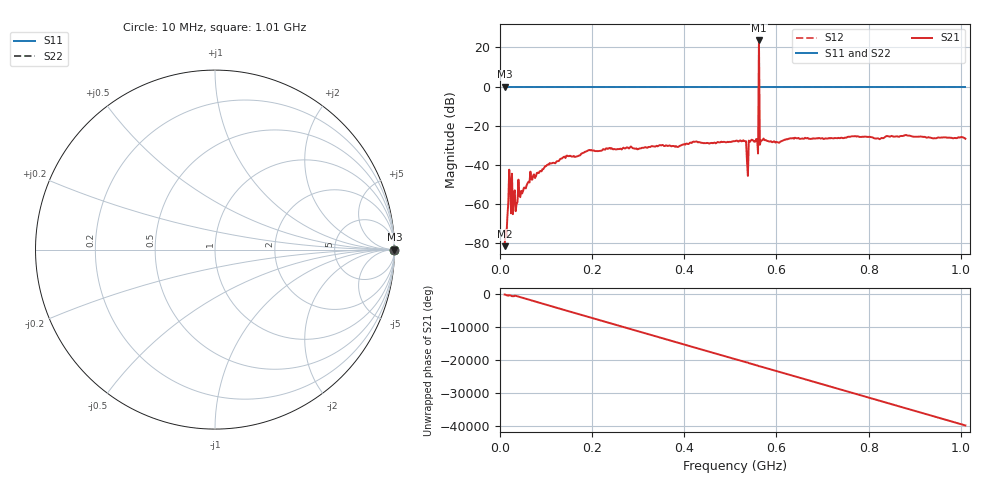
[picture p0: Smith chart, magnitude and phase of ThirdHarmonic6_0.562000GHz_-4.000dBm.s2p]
! 8/15/2025 5:55:47 PM
! C:\ANRITSUVNA\TEMP\TEMP.S2P
! CHANNEL.1
! TR.MEASUREMENT
! RAW.DATA
! RF.CORRECTION.OFF
! AVERAGING.OFF
! IF.BANDWIDTH: 5KHZ
! SWEEPTYPE:  FREQ.SWEEP(Linear)
! Reference Plane Port Info
! PORT:  PORT1  PORT2
! DISTANCE:  0  m  0  m
! TIME:  0  s  0  s
! PHASE.OFFSET:  0  deg.  0  deg.
! LOSS:  0  dB  0  dB
! REF.LOSS:  0  dB  0  dB
! REF.FREQ:  0  Hz  0  Hz
! Power Info
! POWER:  -20  dBm  -20  dBm
! EFF.POWER:  -20  dBm  -20  dBm
! SOURCE.ATTEN:  0  dB  0  dB
! TEST.ATTEN:  0  dB  0  dB
# GHZ S RI R 50.0
! FREQ.GHZ  S11RE  S11IM  S21RE  S21IM  S12RE  S12IM  S22RE  S22IM
!; PortSelection: Port_12
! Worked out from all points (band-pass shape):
!   501 points, 10 MHz to 1.01 GHz, reference 50 ohm
!   highest |S21| = 23.54 dB at 562 MHz (marker M1); lowest = -81.5 dB at 10 MHz (marker M2)
!   |S21| within 3 dB of the highest: 561.8961 MHz to 562.1127 MHz (216.6 kHz wide, 0.0385 % of centre)
!   lowest |S11| = 0.0 dB at 10 MHz (marker M3)
!   |S11| at or under -10 dB: nowhere
!   |S22| runs from 0.0 to 0.0 dB; largest |S21 - S12| = 16
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0.01  1 0  4.62e-05 -7.05e-05  1 0  1 0
0.014  1 0  1.9e-05 0.000148  1 0  1 0
0.018  1 0  0.000571 -0.000907  1 0  1 0
0.022  1 0  0.000492 0.00363  1 0  1 0
0.032  1 0  0.00121 -0.0019  1 0  1 0
0.07  1 0  -0.000999 -0.00407  1 0  1 0
0.1  1 0  -0.00323 0.00871  1 0  1 0
0.178  1 0  -0.0194 -0.00312  1 0  1 0
0.344  1 0  0.0288 -0.0106  1 0  1 0
0.51  1 0  -0.0345 0.0208  1 0  1 0
0.53  1 0  0.0197 0.0358  1 0  1 0
0.534  1 0  -0.00506 -0.0399  1 0  1 0
0.54  1 0  0.0402 0.0117  1 0  1 0
0.544  1 0  -0.0299 -0.0282  1 0  1 0
0.556  1 0  -0.00751 0.0452  1 0  1 0
0.558  1 0  0.0428 0.014  1 0  1 0
0.562  1 0  -11.25 9.976  1 0  1 0
0.566  1 0  0.025 0.0333  1 0  1 0
0.568  1 0  0.0383 -0.0174  1 0  1 0
0.678  1 0  -0.0294 -0.0359  1 0  1 0
0.844  1 0  0.048 0.0235  1 0  1 0
1.01  1 0  -0.0465 0.00246  1 0  1 0
